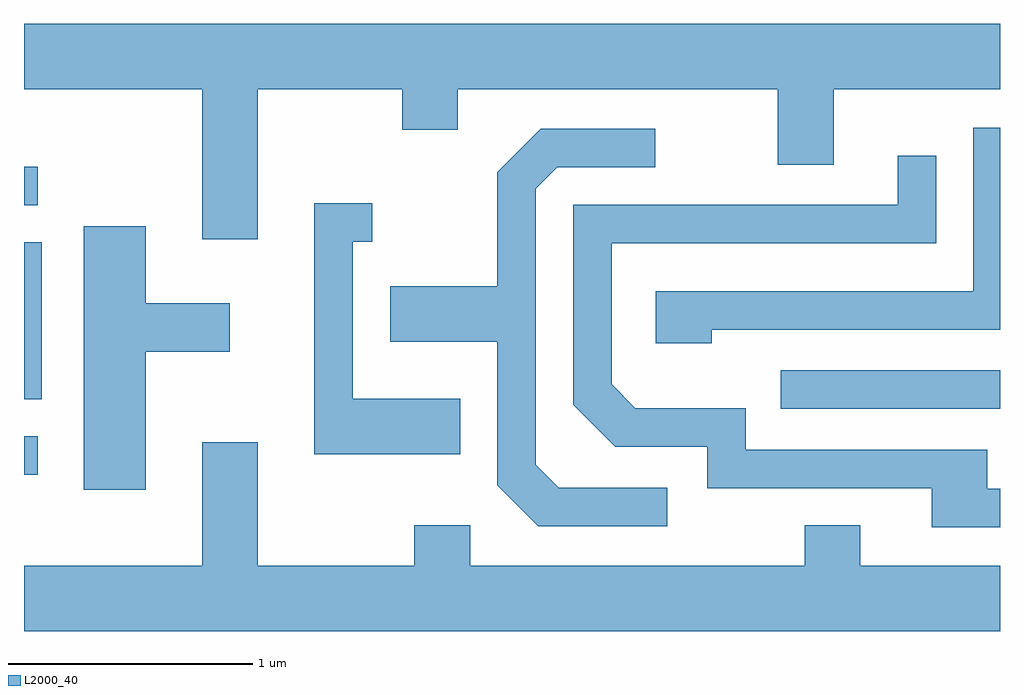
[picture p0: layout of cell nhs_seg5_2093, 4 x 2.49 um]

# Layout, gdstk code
import gdstk
lib = gdstk.Library(unit=1e-6, precision=1e-09)
def R(c, l, rs):  # rectangles x0, y0, x1, y1
    for r in rs: c.add(gdstk.rectangle(r[:2], r[2:], *l))
def P(c, l, *ps):  # polygons
    for p in ps: c.add(gdstk.Polygon(p, *l))
L2000_40 = (2000, 40)

nhs_seg5_2093 = lib.new_cell('nhs_seg5_2093')
R(nhs_seg5_2093, L2000_40, [(247.611,1424.136,247.668,1424.294), (250.713,1424.406,251.611,1424.564), (247.611,1424.446,247.684,1425.089), (247.611,1425.241,247.668,1425.399)])
P(nhs_seg5_2093, L2000_40, [(248.569,1425.716),(249.161,1425.716),(249.161,1425.551),(249.389,1425.551),(249.389,1425.716),(250.701,1425.716),(250.701,1425.406),(250.929,1425.406),(250.929,1425.716),(251.611,1425.716),(251.611,1425.984),(247.611,1425.984),(247.611,1425.716),(248.341,1425.716),(248.341,1425.101),(248.569,1425.101)],
  [(250.429,1424.731),(251.611,1424.731),(251.611,1425.559),(251.501,1425.559),(251.501,1424.889),(250.201,1424.889),(250.201,1424.676),(250.429,1424.676)],
  [(250.248,1424.084),(249.802,1424.084),(249.709,1424.177),(249.709,1425.309),(249.797,1425.396),(250.198,1425.396),(250.198,1425.554),(249.729,1425.554),(249.551,1425.377),(249.551,1424.909),(249.111,1424.909),(249.111,1424.681),(249.551,1424.681),(249.551,1424.094),(249.719,1423.926),(250.248,1423.926)],
  [(251.611,1424.079),(251.559,1424.079),(251.559,1424.239),(250.569,1424.239),(250.569,1424.409),(250.117,1424.409),(250.019,1424.507),(250.019,1425.086),(251.349,1425.086),(251.349,1425.443),(251.191,1425.443),(251.191,1425.244),(249.861,1425.244),(249.861,1424.424),(250.034,1424.251),(250.411,1424.251),(250.411,1424.081),(251.331,1424.081),(251.331,1423.921),(251.611,1423.921)],
  [(249.399,1424.449),(248.959,1424.449),(248.959,1425.091),(249.038,1425.091),(249.038,1425.249),(248.801,1425.249),(248.801,1424.221),(249.399,1424.221)],
  [(248.109,1424.641),(248.454,1424.641),(248.454,1424.839),(248.109,1424.839),(248.109,1425.154),(247.856,1425.154),(247.856,1424.076),(248.109,1424.076)],
  [(251.611,1423.764),(251.039,1423.764),(251.039,1423.929),(250.811,1423.929),(250.811,1423.764),(249.439,1423.764),(249.439,1423.929),(249.211,1423.929),(249.211,1423.764),(248.569,1423.764),(248.569,1424.269),(248.341,1424.269),(248.341,1423.764),(247.611,1423.764),(247.611,1423.496),(251.611,1423.496)])

lib.write_gds('nhs_seg5_2093.gds')
